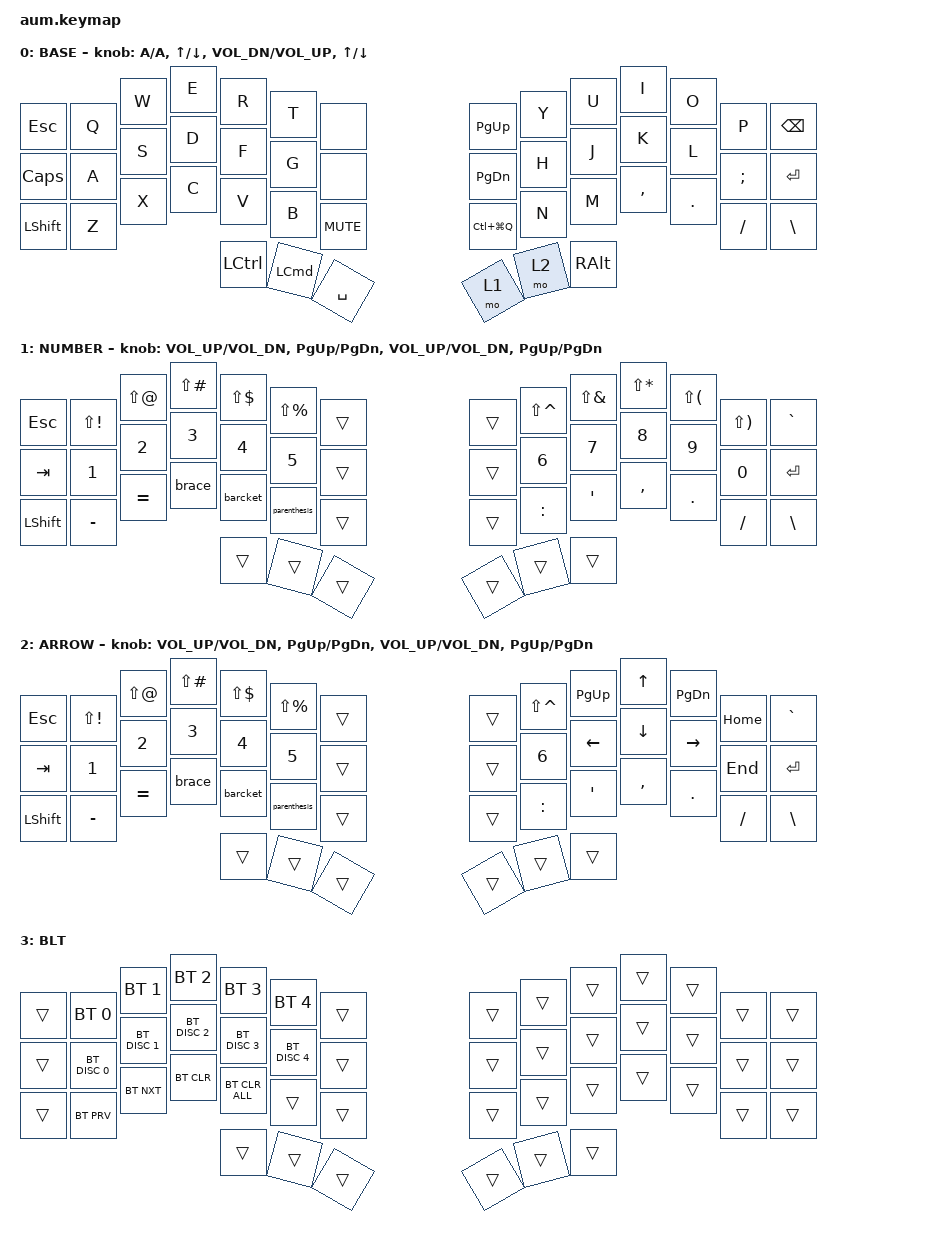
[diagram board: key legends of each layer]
#include <behaviors.dtsi>
#include <dt-bindings/zmk/bt.h>
#include <dt-bindings/zmk/keys.h>

// / {
//     chosen {
//         zmk,physical-layout = &matrix_physical_layout;
//     };
// };

/ {
    combos {
        compatible = "zmk,combos";

        btLayer {
            bindings = <&mo 3>;
            key-positions = <45 46>;
        };

        desk_l_up {
            bindings = <&kp LC(UP_ARROW)>;
            key-positions = <3 4>;
        };

        desk_l_left {
            bindings = <&kp LC(LEFT_ARROW)>;
            key-positions = <16 15>;
        };

        desk_l_right {
            bindings = <&kp LC(RIGHT)>;
            key-positions = <17 18>;
        };

        desk_l_down {
            bindings = <&kp LC(DOWN)>;
            key-positions = <31 32>;
        };

        desk_r_up {
            bindings = <&kp RC(UP_ARROW)>;
            key-positions = <10 9>;
        };

        desk_r_left {
            bindings = <&kp RC(LEFT)>;
            key-positions = <23 24>;
        };

        desk_r_right {
            bindings = <&kp RC(RIGHT)>;
            key-positions = <26 25>;
        };

        desk_r_down {
            bindings = <&kp RC(DOWN)>;
            key-positions = <37 38>;
        };
    };

    behaviors {
        barcket: barcket {
            compatible = "zmk,behavior-tap-dance";
            label = "BARCKET";
            #binding-cells = <0>;
            bindings = <&kp LEFT_BRACKET>, <&kp RIGHT_BRACKET>;
        };

        brace: brace {
            compatible = "zmk,behavior-tap-dance";
            label = "BRACE";
            #binding-cells = <0>;
            bindings = <&kp LEFT_BRACE>, <&kp RIGHT_BRACE>;
        };

        parenthesis: parenthesis {
            compatible = "zmk,behavior-tap-dance";
            label = "PARENTHESIS";
            #binding-cells = <0>;
            bindings = <&kp LEFT_PARENTHESIS>, <&kp RIGHT_PARENTHESIS>;
        };
    };

    keymap {
        compatible = "zmk,keymap";

        L0 {
            // --------------------------------------------------------------------------------------------------------------------------------------------------------------------
            // |   ESC   |    Q    |    W    |    E    |    R    |    T    |                                          |    Y    |    U    |    I    |    O    |    P    |    \    |
            // |   TAB   |    A    |    S    |    D    |    F    |    G    |                                          |    H    |    J    |    K    |    L    |    ;    |    '    |
            // |  SHIFT  |    Z    |    X    |    C    |    V    |    B    | CTRL+A  | CTRL+C  |  |  CTRL+V |  CTRL+X |    N    |    M    |    ,    |    .    |    /    |  R CTRL |
            //                               |   GUI   |   DEL   | RETURN  |  SPACE  | ESCAPE  |  |  RETURN |  SPACE  |   TAB   |   BSPC  |  R ALT  |

            bindings = <
&kp ESC         &kp Q  &kp W  &kp E  &kp R      &kp T             &none         &kp PG_UP      &kp Y  &kp U          &kp I      &kp O    &kp P     &kp BSPC
&kp CAPSLOCK    &kp A  &kp S  &kp D  &kp F      &kp G             &none         &kp PAGE_DOWN  &kp H  &kp J          &kp K      &kp L    &kp SEMI  &kp RET
&kp LEFT_SHIFT  &kp Z  &kp X  &kp C  &kp V      &kp B             &kp K_MUTE    &kp LC(LG(Q))  &kp N  &kp M          &kp COMMA  &kp DOT  &kp FSLH  &kp BSLH
                                     &kp LCTRL  &kp LEFT_COMMAND  &kp SPACE     &mo 1          &mo 2  &kp RIGHT_ALT
            >;

            sensor-bindings =
                <&inc_dec_kp A A>,
                <&inc_dec_kp UP DOWN>,
                <&inc_dec_kp C_VOL_DN C_VOL_UP>,
                <&inc_dec_kp UP DOWN>;

            label = "BASE";
        };

        L1 {
            bindings = <
&kp ESC    &kp LS(EXCL)  &kp LS(AT)  &kp LS(POUND)  &kp LS(DLLR)  &kp LS(PRCNT)  &trans    &trans  &kp LS(CARET)  &kp LS(AMPS)  &kp LS(STAR)  &kp LS(LPAR)  &kp LS(RPAR)  &kp GRAVE
&kp TAB    &kp N1        &kp N2      &kp N3         &kp N4        &kp N5         &trans    &trans  &kp N6         &kp N7        &kp N8        &kp N9        &kp N0        &kp RET
&kp LSHFT  &kp MINUS     &kp EQUAL   &brace         &barcket      &parenthesis   &trans    &trans  &kp COLON      &kp SQT       &kp COMMA     &kp DOT       &kp FSLH      &kp BSLH
                                                    &trans        &trans         &trans    &trans  &trans         &trans
            >;

            sensor-bindings = <&inc_dec_kp C_VOL_UP C_VOL_DN &inc_dec_kp PG_UP PG_DN &inc_dec_kp C_VOL_UP C_VOL_DN &inc_dec_kp PG_UP PG_DN>;
            label = "NUMBER";
        };

        L2 {
            bindings = <
&kp ESC    &kp LS(EXCL)  &kp LS(AT)  &kp LS(POUND)  &kp LS(DLLR)  &kp LS(PRCNT)  &trans    &trans  &kp LS(CARET)  &kp PG_UP  &kp UP     &kp PG_DN  &kp HOME  &kp GRAVE
&kp TAB    &kp N1        &kp N2      &kp N3         &kp N4        &kp N5         &trans    &trans  &kp N6         &kp LEFT   &kp DOWN   &kp RIGHT  &kp END   &kp RET
&kp LSHFT  &kp MINUS     &kp EQUAL   &brace         &barcket      &parenthesis   &trans    &trans  &kp COLON      &kp SQT    &kp COMMA  &kp DOT    &kp FSLH  &kp BSLH
                                                    &trans        &trans         &trans    &trans  &trans         &trans
            >;

            sensor-bindings = <&inc_dec_kp C_VOL_UP C_VOL_DN &inc_dec_kp PG_UP PG_DN &inc_dec_kp C_VOL_UP C_VOL_DN &inc_dec_kp PG_UP PG_DN>;
            label = "ARROW";
        };

        L3 {
            bindings = <
&trans  &bt BT_SEL 0   &bt BT_SEL 1   &bt BT_SEL 2   &bt BT_SEL 3    &bt BT_SEL 4   &trans    &trans  &trans  &trans  &trans  &trans  &trans  &trans
&trans  &bt BT_DISC 0  &bt BT_DISC 1  &bt BT_DISC 2  &bt BT_DISC 3   &bt BT_DISC 4  &trans    &trans  &trans  &trans  &trans  &trans  &trans  &trans
&trans  &bt BT_PRV     &bt BT_NXT     &bt BT_CLR     &bt BT_CLR_ALL  &trans         &trans    &trans  &trans  &trans  &trans  &trans  &trans  &trans
                                                     &trans          &trans         &trans    &trans  &trans  &trans
            >;

            label = "BLT";
        };
    };
};
